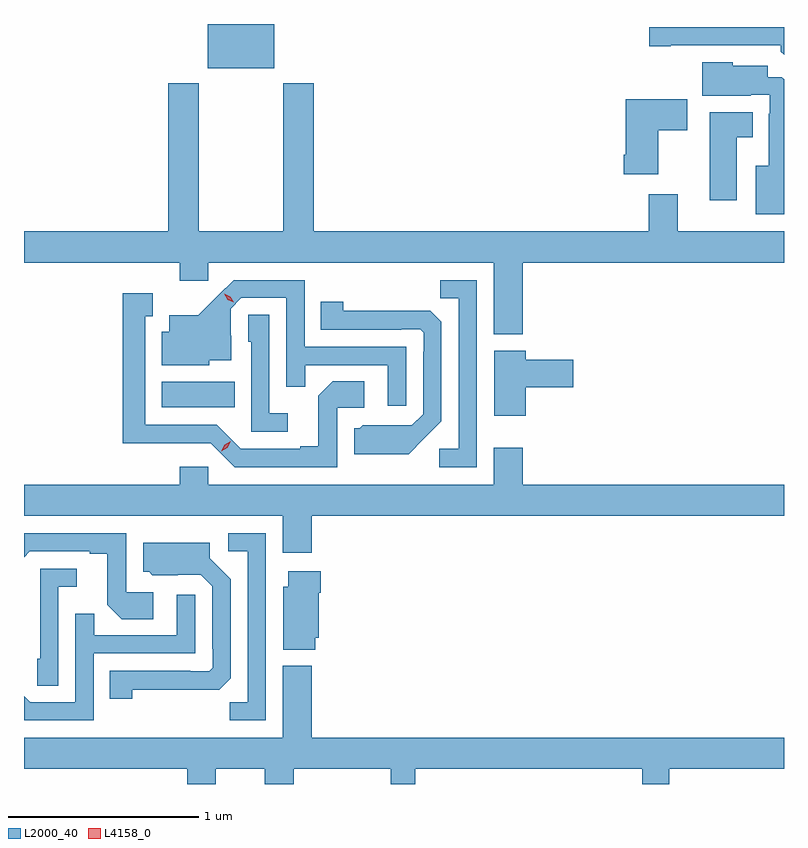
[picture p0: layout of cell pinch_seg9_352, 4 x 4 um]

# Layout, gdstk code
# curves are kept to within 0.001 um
import gdstk
lib = gdstk.Library(unit=1e-6, precision=1e-09)
def R(c, l, rs):  # rectangles x0, y0, x1, y1
    for r in rs: c.add(gdstk.rectangle(r[:2], r[2:], *l))
def P(c, l, *ps):  # polygons
    for p in ps: c.add(gdstk.Polygon(p, *l))
L2000_40 = (2000, 40)
L4158_0 = (4158, 0)

pinch_seg9_352 = lib.new_cell('pinch_seg9_352')
R(pinch_seg9_352, L2000_40, [(610.898,1190.33,611.282,1190.464), (611.138,1192.115,611.488,1192.348)])
P(pinch_seg9_352, L2000_40, [(614.172,1192.332),(613.464,1192.332),(613.464,1192.231),(613.576,1192.231),(613.576,1192.236),(614.156,1192.236),(614.156,1192.202),(614.172,1192.186)],
  [(614.172,1192.056),(614.16,1192.068),(614.086,1192.068),(614.086,1192.129),(613.902,1192.129),(613.902,1192.147),(613.742,1192.147),(613.742,1191.971),(613.997,1191.971),(613.997,1191.975),(614.097,1191.975),(614.097,1191.875),(614.093,1191.875),(614.093,1191.601),(614.024,1191.601),(614.024,1191.347),(614.172,1191.347)],
  [(612.797,1191.092),(614.172,1191.092),(614.172,1191.256),(613.612,1191.256),(613.612,1191.451),(613.46,1191.451),(613.46,1191.256),(611.696,1191.256),(611.696,1192.036),(611.536,1192.036),(611.536,1191.256),(611.091,1191.256),(611.091,1192.036),(610.931,1192.036),(610.931,1191.256),(610.172,1191.256),(610.172,1191.092),(610.991,1191.092),(610.991,1190.997),(611.142,1190.997),(611.142,1191.092),(612.644,1191.092),(612.644,1190.714),(612.797,1190.714)],
  [(613.51,1191.79),(613.663,1191.79),(613.663,1191.952),(613.34,1191.952),(613.34,1191.661),(613.328,1191.661),(613.328,1191.557),(613.51,1191.557)],
  [(613.924,1191.752),(614.008,1191.752),(614.008,1191.883),(613.781,1191.883),(613.781,1191.42),(613.924,1191.42)],
  [(612.183,1190.649),(611.649,1190.649),(611.649,1191),(611.276,1191),(611.089,1190.815),(610.937,1190.815),(610.937,1190.728),(610.898,1190.728),(610.898,1190.552),(611.148,1190.552),(611.148,1190.579),(611.263,1190.579),(611.263,1190.708),(611.259,1190.708),(611.259,1190.85),(611.316,1190.907),(611.553,1190.907),(611.553,1190.44),(611.651,1190.44),(611.651,1190.553),(612.087,1190.553),(612.087,1190.34),(612.183,1190.34)],
  [(612.555,1191),(612.364,1191),(612.364,1190.905),(612.459,1190.905),(612.459,1190.112),(612.357,1190.112),(612.357,1190.016),(612.555,1190.016)],
  [(611.82,1190.328),(611.962,1190.328),(611.962,1190.468),(611.797,1190.468),(611.721,1190.392),(611.721,1190.125),(611.627,1190.125),(611.627,1190.112),(611.313,1190.112),(611.187,1190.238),(610.81,1190.238),(610.81,1190.811),(610.849,1190.811),(610.849,1190.932),(610.692,1190.932),(610.692,1190.141),(611.154,1190.142),(611.28,1190.016),(611.82,1190.016)],
  [(612.277,1190.165),(612.369,1190.258),(612.369,1190.78),(612.31,1190.839),(611.853,1190.84),(611.853,1190.887),(611.734,1190.887),(611.734,1190.739),(612.158,1190.739),(612.158,1190.742),(612.258,1190.742),(612.276,1190.724),(612.276,1190.624),(612.273,1190.624),(612.273,1190.295),(612.213,1190.235),(611.956,1190.236),(611.94,1190.22),(611.909,1190.22),(611.909,1190.084),(612.197,1190.084)],
  [(611.56,1190.299),(611.463,1190.299),(611.463,1190.819),(611.352,1190.819),(611.352,1190.676),(611.367,1190.676),(611.367,1190.202),(611.56,1190.202)],
  [(612.814,1190.435),(613.063,1190.435),(613.063,1190.582),(612.814,1190.582),(612.814,1190.629),(612.647,1190.629),(612.647,1190.286),(612.814,1190.286)],
  [(611.687,1189.76),(614.172,1189.76),(614.172,1189.924),(612.797,1189.924),(612.797,1190.119),(612.644,1190.119),(612.644,1189.924),(611.142,1189.924),(611.142,1190.017),(610.991,1190.017),(610.991,1189.924),(610.172,1189.924),(610.172,1189.76),(611.534,1189.76),(611.534,1189.566),(611.687,1189.566)],
  [(610.852,1189.356),(610.71,1189.356),(610.71,1189.668),(610.172,1189.668),(610.172,1189.541),(610.203,1189.572),(610.517,1189.572),(610.517,1189.56),(610.611,1189.56),(610.611,1189.292),(610.687,1189.216),(610.852,1189.216)],
  [(611.445,1189.668),(611.247,1189.668),(611.247,1189.572),(611.349,1189.572),(611.349,1188.779),(611.254,1188.779),(611.254,1188.684),(611.445,1188.684)],
  [(610.743,1188.844),(611.2,1188.845),(611.259,1188.904),(611.259,1189.426),(611.149,1189.536),(611.149,1189.618),(610.799,1189.618),(610.799,1189.464),(610.83,1189.464),(610.846,1189.448),(611.103,1189.449),(611.163,1189.389),(611.163,1189.06),(611.166,1189.06),(611.166,1188.96),(611.148,1188.942),(611.048,1188.942),(611.048,1188.945),(610.624,1188.945),(610.624,1188.798),(610.743,1188.798)],
  [(610.353,1189.385),(610.45,1189.385),(610.45,1189.482),(610.257,1189.482),(610.257,1189.008),(610.242,1189.008),(610.242,1188.865),(610.353,1188.865)],
  [(611.704,1189.119),(611.722,1189.119),(611.722,1189.355),(611.735,1189.355),(611.735,1189.468),(611.564,1189.468),(611.564,1189.386),(611.537,1189.386),(611.537,1189.055),(611.704,1189.055)],
  [(610.539,1189.035),(611.073,1189.035),(611.073,1189.345),(610.977,1189.345),(610.977,1189.131),(610.541,1189.131),(610.541,1189.244),(610.443,1189.244),(610.443,1188.777),(610.206,1188.777),(610.172,1188.811),(610.172,1188.684),(610.539,1188.684)],
  [(611.182,1188.428),(611.438,1188.428),(611.438,1188.348),(611.591,1188.348),(611.591,1188.428),(612.103,1188.428),(612.103,1188.348),(612.232,1188.348),(612.232,1188.428),(613.427,1188.428),(613.427,1188.348),(613.567,1188.348),(613.567,1188.428),(614.172,1188.428),(614.172,1188.592),(611.687,1188.592),(611.687,1188.97),(611.534,1188.97),(611.534,1188.592),(610.172,1188.592),(610.172,1188.428),(611.03,1188.428),(611.03,1188.348),(611.182,1188.348)])
P(pinch_seg9_352, L4158_0, [(611.276,1190.883),(611.244,1190.898),(611.227,1190.927),(611.227,1190.928),(611.227,1190.928),(611.258,1190.913),(611.276,1190.883),(611.276,1190.883)],
  [(611.211,1190.1),(611.211,1190.1),(611.228,1190.133),(611.259,1190.153),(611.259,1190.153),(611.259,1190.152),(611.242,1190.119),(611.211,1190.1)])

lib.write_gds('pinch_seg9_352.gds')
